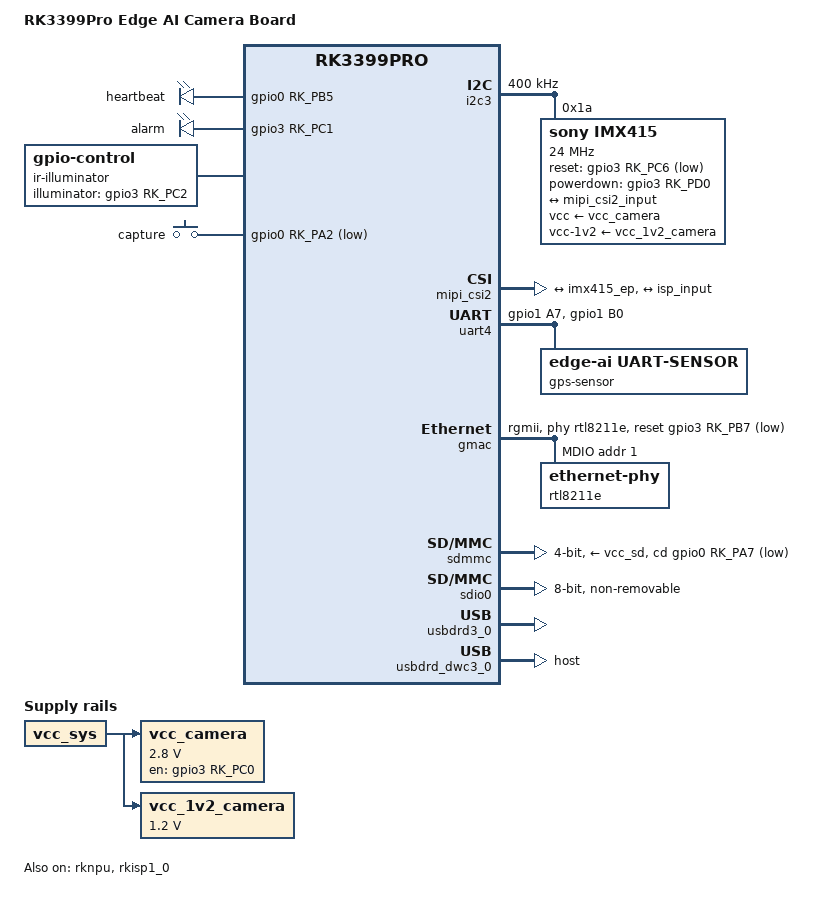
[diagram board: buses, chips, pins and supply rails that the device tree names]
// SPDX-License-Identifier: (GPL-2.0+ OR MIT)
/*
 * Device Tree for RK3399Pro Edge AI Camera Board
 *
 * 板级描述:
 *   - SoC:  Rockchip RK3399Pro (2×Cortex-A72 + 4×Cortex-A53)
 *   - NPU:  RK1808 NPU (单核, 3 TOPS, RKNN-Toolkit1)
 *   - RAM:  4GB LPDDR4
 *   - eMMC: 32GB
 *   - SD卡: SDMMC
 *
 * 外设配置:
 *   - Camera:  IMX415 红外传感器 (MIPI CSI-2, 4-lane, I2C3 addr 0x1a)
 *   - UART4:   GPS/环境传感器 (115200 8N1)
 *   - GPIO:    LED指示灯 (GPIO0_B5), 补光灯控制 (GPIO3_C1)
 *   - NPU CMA: 512MB 连续内存池 (dts reserved-memory)
 *   - 编码:    MFC H.264/H.265 硬件编码器
 *
 * 基于 Rockchip rk3399pro-evb.dts 修改
 */

/dts-v1/;

#include <dt-bindings/gpio/gpio.h>
#include <dt-bindings/pinctrl/rockchip.h>
#include <dt-bindings/clock/rk3399-cru.h>
#include "rk3399pro.dtsi"
#include "rk3399pro-camera-imx415.dtsi"

/ {
    model = "RK3399Pro Edge AI Camera Board";
    compatible = "rockchip,rk3399pro-edge-ai-camera", "rockchip,rk3399pro";

    aliases {
        mmc0 = &sdio0;   /* eMMC */
        mmc1 = &sdmmc;   /* SD Card */
        serial0 = &uart2; /* Debug UART */
        serial1 = &uart4; /* GPS Sensor UART */
    };

    chosen {
        stdout-path = "serial2:1500000n8";
        bootargs = "earlycon=uart8250,mmio32,0xff1a0000 console=ttyS2,1500000n8 "
                   "root=/dev/mmcblk1p2 rootwait rw "
                   "cma=512M "
                   "isolcpus=4,5 "
                   "nohz_full=4,5 "
                   "rcu_nocbs=4,5";
    };

    /*
     * ============================================================
     *  CMA 内存池 — NPU 推理需要大块连续物理内存 (Zero-Copy DMA)
     *  RK3399Pro NPU 要求至少256MB, 本项目预留512MB
     * ============================================================
     */
    reserved-memory {
        #address-cells = <2>;
        #size-cells = <2>;
        ranges;

        npu_cma_region: npu-cma@40000000 {
            compatible = "shared-dma-pool";
            reusable;
            reg = <0x0 0x40000000 0x0 0x20000000>;  /* 512MB at 1GB */
            linux,cma-default;
            status = "okay";
        };

        /* V4L2 DMA-BUF 帧缓冲 (4×1080p RGB = 4×1920×1080×3 ≈ 25MB) */
        camera_dma_region: camera-dma@60000000 {
            compatible = "shared-dma-pool";
            reusable;
            reg = <0x0 0x60000000 0x0 0x02000000>;   /* 32MB */
            status = "okay";
        };
    };

    /*
     * ============================================================
     *  电源管理 — 摄像头独立供电, AVDD 2.8V, DVDD 1.2V, IOVDD 1.8V
     * ============================================================
     */
    vcc_camera: vcc-camera-regulator {
        compatible = "regulator-fixed";
        regulator-name = "vcc_camera";
        regulator-min-microvolt = <2800000>;
        regulator-max-microvolt = <2800000>;
        regulator-always-on;
        regulator-boot-on;
        gpio = <&gpio3 RK_PC0 GPIO_ACTIVE_HIGH>;
        enable-active-high;
        vin-supply = <&vcc_sys>;
    };

    vcc_1v2_camera: vcc-1v2-camera-regulator {
        compatible = "regulator-fixed";
        regulator-name = "vcc_1v2_camera";
        regulator-min-microvolt = <1200000>;
        regulator-max-microvolt = <1200000>;
        regulator-always-on;
        regulator-boot-on;
        vin-supply = <&vcc_sys>;
    };

    /*
     * ============================================================
     *  GPIO 外设
     *   - gpio-leds:      板载LED指示灯 (心跳/告警)
     *   - gpio-illuminator: 红外补光灯 (GPIO控制)
     *   - gpio-key:       用户按键 (拍照/重置)
     * ============================================================
     */
    gpio-leds {
        compatible = "gpio-leds";
        pinctrl-names = "default";
        pinctrl-0 = <&led_pin>;

        heartbeat {
            label = "heartbeat";
            gpios = <&gpio0 RK_PB5 GPIO_ACTIVE_HIGH>;
            linux,default-trigger = "heartbeat";
            default-state = "on";
        };

        alarm {
            label = "alarm";
            gpios = <&gpio3 RK_PC1 GPIO_ACTIVE_HIGH>;
            default-state = "off";
        };
    };

    gpio-illuminator {
        compatible = "gpio-control";
        illuminator-gpios = <&gpio3 RK_PC2 GPIO_ACTIVE_HIGH>;
        label = "ir-illuminator";
        default-state = "off";
    };

    gpio-keys {
        compatible = "gpio-keys";
        pinctrl-names = "default";
        pinctrl-0 = <&key_pin>;

        capture-key {
            label = "capture";
            gpios = <&gpio0 RK_PA2 GPIO_ACTIVE_LOW>;
            linux,code = <0x100>;  /* BTN_0 */
            debounce-interval = <50>;
            wakeup-source;
        };
    };
};

/*
 * ============================================================
 *  CPU 电源域与频率配置
 *  - CPU4-5 (A72) 隔离给AI推理线程, 最高频率
 *  - CPU0-3 (A53) 处理采集/上报/系统任务
 * ============================================================
 */
&cluster0_opp_table {
    opp-1416000000 {
        opp-hz = /bits/ 64 <1416000000>;
        opp-microvolt = <1125000>;
        status = "okay";
    };
};

&cluster1_opp_table {
    opp-1800000000 {
        opp-hz = /bits/ 64 <1800000000>;
        opp-microvolt = <1200000>;
        status = "okay";
    };
};

/*
 * ============================================================
 *  NPU — RK1808 神经网络处理单元
 *  绑定到 RK3399Pro PCIe 内部总线
 *  要求 CMA 内存池已配置
 * ============================================================
 */
&rknpu {
    status = "okay";
    memory-region = <&npu_cma_region>;
    power-domains = <&power RK3399_PD_NPU>;
};

&rknpu_mmu {
    status = "okay";
};

/*
 * ============================================================
 *  I2C3 — 连接 IMX415 摄像头传感器 (从地址 0x1a)
 *  时钟: 外部24MHz晶振
 *  复位: GPIO3_C6 (低有效复位)
 * ============================================================
 */
&i2c3 {
    status = "okay";
    clock-frequency = <400000>;  /* 400kHz Fast Mode */
    i2c-scl-rising-time-ns = <168>;
    i2c-scl-falling-time-ns = <28>;

    imx415: camera-sensor@1a {
        compatible = "sony,imx415";
        reg = <0x1a>;
        clocks = <&cru SCLK_CIF_OUT>;
        clock-names = "xvclk";
        clock-frequency = <24000000>;

        reset-gpios = <&gpio3 RK_PC6 GPIO_ACTIVE_LOW>;
        powerdown-gpios = <&gpio3 RK_PD0 GPIO_ACTIVE_HIGH>;

        /* MIPI CSI-2 配置: 4-lane, 每lane 1.5Gbps */
        mipi-data-lanes = <1 2 3 4>;
        lane-polarities = <0 0 0 0>;

        /* 默认输出: 1920×1080 @30fps, RAW10 */
        sensor-width = <1920>;
        sensor-height = <1080>;
        max-fps = <30>;

        vcc-supply = <&vcc_camera>;
        vcc-1v2-supply = <&vcc_1v2_camera>;

        port {
            imx415_ep: endpoint {
                remote-endpoint = <&mipi_csi2_input>;
                data-lanes = <1 2 3 4>;
                link-frequencies = /bits/ 64 <891000000>;
            };
        };
    };
};

/*
 * ============================================================
 *  MIPI CSI-2 Host Controller
 *  - 接收 IMX415 的 4-lane MIPI 信号
 *  - 通过 ISP 管道输出 /dev/video0
 * ============================================================
 */
&mipi_csi2 {
    status = "okay";

    ports {
        #address-cells = <1>;
        #size-cells = <0>;

        port@0 {
            reg = <0>;
            mipi_csi2_input: endpoint {
                remote-endpoint = <&imx415_ep>;
                data-lanes = <1 2 3 4>;
            };
        };

        port@1 {
            reg = <1>;
            mipi_csi2_output: endpoint {
                remote-endpoint = <&isp_input>;
            };
        };
    };
};

&rkisp1_0 {
    status = "okay";

    port {
        isp_input: endpoint {
            remote-endpoint = <&mipi_csi2_output>;
        };
    };
};

/*
 * ============================================================
 *  UART4 — 连接 GPS/环境传感器模块
 *  协议:  NMEA 0183 (GPS) / 自定义协议 (环境传感器)
 *  参数:  115200 baud, 8 data bits, no parity, 1 stop bit
 * ============================================================
 */
&uart4 {
    status = "okay";
    pinctrl-names = "default";
    pinctrl-0 = <&uart4_xfer>;

    gps-sensor {
        compatible = "edge-ai,uart-sensor";
        baudrate = <115200>;
        data-bits = <8>;
        parity = "none";
        stop-bits = <1>;
        read-buffer-size = <4096>;
    };
};

/*
 * ============================================================
 *  SPI0 — 预留 (可接环境传感器/ADC)
 * ============================================================
 */
&spi0 {
    status = "disabled";
};

/*
 * ============================================================
 *  千兆以太网 — RTL8211E PHY
 * ============================================================
 */
&gmac {
    status = "okay";
    phy-mode = "rgmii";
    phy-handle = <&rtl8211e>;
    snps,reset-gpio = <&gpio3 RK_PB7 GPIO_ACTIVE_LOW>;
    snps,reset-active-low;
    snps,reset-delays-us = <0 10000 50000>;
    tx_delay = <0x28>;
    rx_delay = <0x11>;

    mdio {
        compatible = "snps,dwmac-mdio";
        #address-cells = <1>;
        #size-cells = <0>;

        rtl8211e: ethernet-phy@1 {
            reg = <1>;
        };
    };
};

/*
 * ============================================================
 *  SDMMC — SD卡槽 (存放检测日志和视频)
 * ============================================================
 */
&sdmmc {
    status = "okay";
    bus-width = <4>;
    max-frequency = <150000000>;
    cap-sd-highspeed;
    cap-mmc-highspeed;
    cd-gpios = <&gpio0 RK_PA7 GPIO_ACTIVE_LOW>;
    disable-wp;
    vmmc-supply = <&vcc_sd>;
    vqmmc-supply = <&vcc_sdio>;
    supports-sd;
};

/*
 * ============================================================
 *  eMMC — 系统存储 (rootfs)
 * ============================================================
 */
&sdio0 {
    status = "okay";
    bus-width = <8>;
    max-frequency = <200000000>;
    cap-mmc-highspeed;
    mmc-hs200-1_8v;
    non-removable;
};

/*
 * ============================================================
 *  USB 3.0 Host — 可接U盘导出日志, 或4G模块
 * ============================================================
 */
&usbdrd3_0 {
    status = "okay";
};

&usbdrd_dwc3_0 {
    status = "okay";
    dr_mode = "host";
};

/*
 * ============================================================
 *  PMU — 电源管理单元 (RK808-D)
 * ============================================================
 */
&pmu_io_domains {
    status = "okay";
    pmu1830-supply = <&vcc_1v8>;
};

/*
 * ============================================================
 *  PinCtrl — GPIO 引脚功能复用
 * ============================================================
 */
&pinctrl {
    led_pin: led-pin {
        rockchip,pins =
            <0 RK_PB5 RK_FUNC_GPIO &pcfg_pull_none>,    /* LED heartbeat */
            <3 RK_PC1 RK_FUNC_GPIO &pcfg_pull_none>;    /* LED alarm/illuminator */
    };

    key_pin: key-pin {
        rockchip,pins =
            <0 RK_PA2 RK_FUNC_GPIO &pcfg_pull_up>;      /* User button */
    };

    uart4_xfer: uart4-xfer {
        rockchip,pins =
            <1 RK_PA7 RK_FUNC_1 &pcfg_pull_up>,          /* UART4 TX */
            <1 RK_PB0 RK_FUNC_1 &pcfg_pull_up>;          /* UART4 RX */
    };

    camera_rst: camera-rst {
        rockchip,pins =
            <3 RK_PC6 RK_FUNC_GPIO &pcfg_pull_none>,     /* IMX415 RST */
            <3 RK_PD0 RK_FUNC_GPIO &pcfg_pull_none>;     /* IMX415 PWDN */
    };
};
